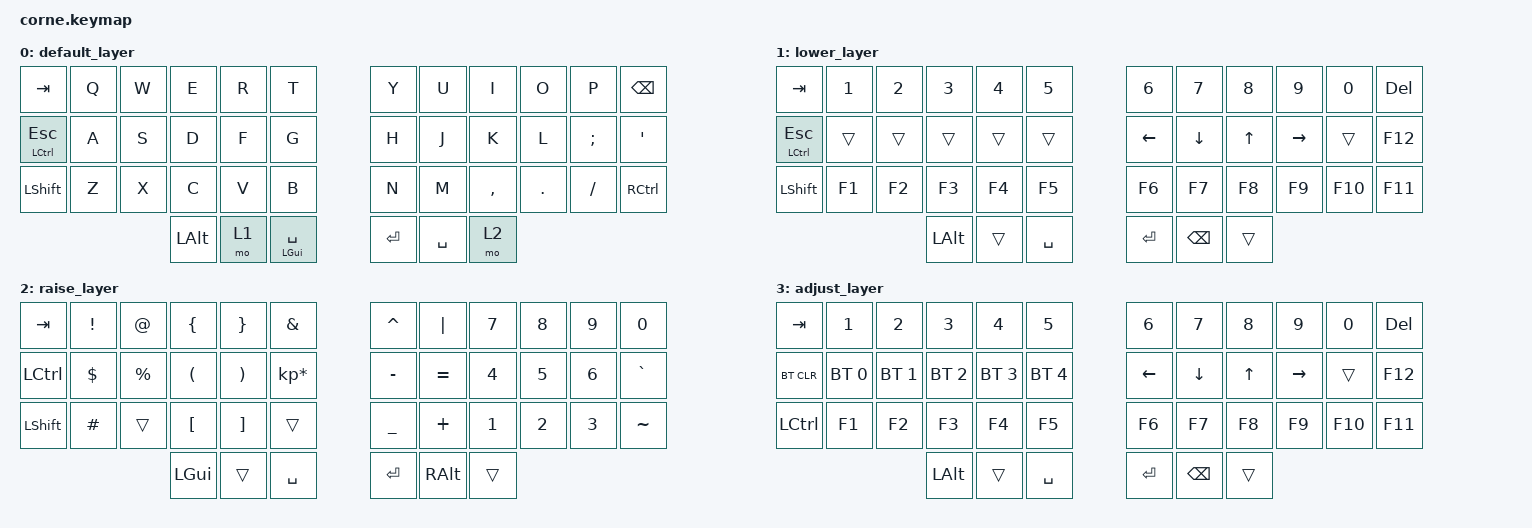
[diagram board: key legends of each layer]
/*
 * Copyright (c) 2020 The ZMK Contributors
 *
 * SPDX-License-Identifier: MIT
 */

#include <behaviors.dtsi>
#include <dt-bindings/zmk/keys.h>
#include <dt-bindings/zmk/bt.h>

/ {
        conditional_layers {
            compatible = "zmk,conditional-layers";
            tri_layer {
                if-layers = <1 2>;
                then-layer = <3>;
            };
        };

        keymap {
                compatible = "zmk,keymap";

                default_layer {
// -----------------------------------------------------------------------------------------
// |  TAB   |  Q  |  W  |  E  |  R  |  T        |   |  Y   |  U   |  I  |  O  |  P  | BKSP |
// | LC/ESC |  A  |  S  |  D  |  F  |  G        |   |  H   |  J   |  K  |  L  |  ;  |  '   |
// | SHFT   |  Z  |  X  |  C  |  V  |  B        |   |  N   |  M   |  ,  |  .  |  /  | CTRL |
//                    | ALT | LWR | GUI/SPACE |   | ENT  | SPC | RSE |
                        bindings = <
   &kp TAB       &kp Q &kp W &kp E &kp R &kp T   &kp Y &kp U  &kp I     &kp O   &kp P    &kp BSPC
   &mt LCTRL ESC &kp A &kp S &kp D &kp F &kp G   &kp H &kp J  &kp K     &kp L   &kp SEMI &kp SQT
   &kp LSHFT     &kp Z &kp X &kp C &kp V &kp B   &kp N &kp M  &kp COMMA &kp DOT &kp FSLH &kp RCTRL
                   &kp LALT &mo 1 &mt LGUI SPACE   &kp RET &kp SPACE &mo 2 
                        >;
                };
                lower_layer {
// -----------------------------------------------------------------------------------------
// | TAB   |  1  |  2  |  3  |  4  |  5  |   |  6  |  7   |  8  |  9  |  0  |  DEL |
// | LC/ESC|     |     |     |     |     |   | LFT | DWN  |  UP | RGT |     | F12  |
// | LSHFT | F1  | F2  | F3  | F4  | F5  |   | F6  | F7   | F8  | F9  | F10 | F11  |
//                     | ALT |     | SPC |   | ENT | BKSP | AJS |
                        bindings = <
   &kp TAB        &kp N1 &kp N2 &kp N3 &kp N4 &kp N5      &kp N6   &kp N7   &kp N8 &kp N9    &kp N0  &kp DEL
   &mt LCTRL ESC  &trans &trans &trans &trans &trans      &kp LEFT &kp DOWN &kp UP &kp RIGHT &trans  &kp F12
   &kp LSHFT      &kp F1 &kp F2 &kp F3 &kp F4 &kp F5      &kp F6   &kp F7   &kp F8 &kp F9    &kp F10 &kp F11
               	        &kp LALT  &trans   &kp SPACE      &kp RET  &kp BSPC  &trans
                        >;
                };

                raise_layer {
// -----------------------------------------------------------------------------------------
// |  TAB |  !  |  @  |  {  |  }  |  &  |   |  ^  | "|"  |  7  |  8  |  9  |  0   |
// | CTRL |  $  |  %  |  (  |  )  |  *  |   |  -  |  =   |  4  |  5  |  6  |  `   |
// | SHFT |  #  |     |  [  |  ]  |     |   |  _  |  +   |  1  |  2  |  3  |  ~   |
//                    | GUI | BKSP | SPC |   | ENT | ALT |    |
                        bindings = <
   &kp  TAB  &kp EXCL &kp AT    &kp LBRC &kp RBRC &kp AMPS   &kp CARET &kp PIPE  &kp N7 &kp N8 &kp N9 &kp N0
   &kp LCTRL &kp DLLR &kp PRCNT &kp LPAR &kp RPAR &kp KP_MULTIPLY   &kp MINUS &kp EQUAL &kp N4 &kp N5 &kp N6 &kp GRAVE
   &kp LSHFT &kp HASH   &trans  &kp LBKT &kp RBKT &trans   &kp UNDER &kp PLUS  &kp N1        &kp N2 &kp N3 &kp TILDE
                    	     &kp LGUI &trans  &kp SPACE   &kp RET    &kp RALT &trans
                                                                                  >;
                };
                adjust_layer {
// -----------------------------------------------------------------------------------------
// |  TAB |  1  |  2  |  3  |  4  |  5  |   |  6  |  7   |  8  |  9  |  0  |  DEL |
// | BTCLR| BT1 | BT2 | BT3 | BT4 | BT5 |   | LFT | DWN  |  UP | RGT |     | F12  |
// | LCTRL| F1  | F2  | F3  | F4  | F5  |   | F6  | F7   | F8  | F9  | F10 | F11  |
//                    | ALT |     | SPC |   | ENT | BKSP |     |
                        bindings = <
   &kp TAB    &kp N1       &kp N2       &kp N3       &kp N4       &kp N5         &kp N6   &kp N7   &kp N8 &kp N9    &kp N0  &kp DEL
   &bt BT_CLR &bt BT_SEL 0 &bt BT_SEL 1 &bt BT_SEL 2 &bt BT_SEL 3 &bt BT_SEL 4   &kp LEFT &kp DOWN &kp UP &kp RIGHT &trans  &kp F12
   &kp LCTRL  &kp F1       &kp F2       &kp F3       &kp F4       &kp F5         &kp F6   &kp F7   &kp F8 &kp F9    &kp F10 &kp F11
                  	        &kp LALT  &trans   &kp SPACE        &kp RET  &kp BSPC  &trans
                        >;

                };
        };
}; 
